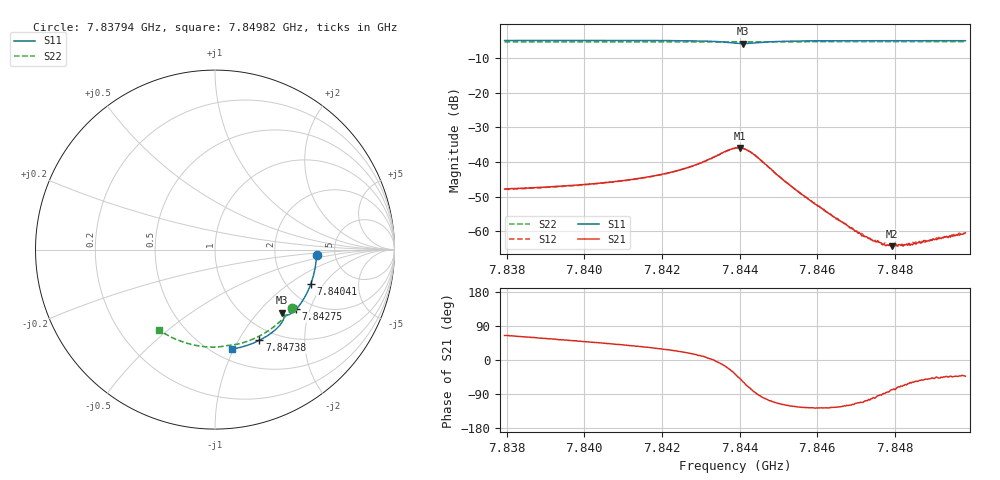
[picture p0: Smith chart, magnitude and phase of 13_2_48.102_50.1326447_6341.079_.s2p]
#  HZ  S  RI  R  50.00
! Rohde & Schwarz Vector Network Analyzer
! Rohde-Schwarz,ZNB20-2Port,1311601062101988,3.16
! Created: UTC 12/23/2023, 3:35:51 AM
! freq[Hz]  re:S11  im:S11  re:S21  im:S21  re:S12  im:S12  re:S22  im:S22
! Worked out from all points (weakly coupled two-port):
!   401 points, 7.83794 GHz to 7.84982 GHz, reference 50 ohm
!   highest |S21| = -35.92 dB at 7.844 GHz (marker M1); lowest = -64.3 dB at 7.84792 GHz (marker M2)
!   lowest |S11| = -5.8 dB at 7.84409 GHz (marker M3), VSWR 3.10, Z = 71.1 - j67.8 ohm
!   |S11| at or under -10 dB: nowhere
!   |S22| runs from -5.4 to -5.3 dB; largest |S21 - S12| = 0.00035
!   S11 on the Smith chart (normalised r, x): 7.83794 GHz: 3.59, -0.30; 7.84041 GHz: 2.68, -1.50; 7.84275 GHz: 1.67, -1.62; 7.84738 GHz: 0.83, -1.23; 7.84982 GHz: 0.60, -0.98
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7.837945e9  0.5661 -0.0282  0.00174 0.00368  0.0017 0.00365  0.4306 -0.326
7.839934e9  0.5443 -0.159  0.00309 0.00356  0.00304 0.00351  0.3337 -0.4255
7.840409e9  0.5345 -0.1896  0.0035 0.00353  0.00347 0.00349  0.3069 -0.4456
7.841923e9  0.489 -0.2839  0.00567 0.00326  0.00559 0.00326  0.2144 -0.4974
7.842754e9  0.4518 -0.3328  0.00826 0.00249  0.00821 0.00254  0.1593 -0.5176
7.843466e9  0.4039 -0.3652  0.0126 -0.00154  0.0127 -0.00125  0.1104 -0.5292
7.843882e9  0.3732 -0.3607  0.0128 -0.00955  0.0127 -0.00937  0.0826 -0.5327
7.844001e9  0.3706 -0.3553  0.0107 -0.0119  0.0107 -0.0119  0.0753 -0.5336
7.84409e9  0.3713 -0.3519  0.0084 -0.0134  0.00857 -0.0132  0.0698 -0.5345
7.844238e9  0.3767 -0.3507  0.00439 -0.0136  0.00446 -0.0137  0.0604 -0.536
7.844416e9  0.3831 -0.3576  0.000664 -0.0122  0.000739 -0.0121  0.0487 -0.5381
7.845158e9  0.3702 -0.4096  -0.0025 -0.00465  -0.00252 -0.0047  -0.00308 -0.5429
7.845871e9  0.3347 -0.4482  -0.00156 -0.00214  -0.0016 -0.00215  -0.0534 -0.5411
7.846821e9  0.2809 -0.487  -0.000567 -0.00101  -0.000595 -0.001  -0.1196 -0.531
7.847177e9  0.2596 -0.4991  -0.00032 -0.000799  -0.000333 -0.000836  -0.1441 -0.5252
7.847385e9  0.2471 -0.5056  -0.000158 -0.000738  -0.000166 -0.000741  -0.1581 -0.5214
7.847652e9  0.2308 -0.5134  -3.49e-05 -0.000676  -2.46e-05 -0.000661  -0.1759 -0.5158
7.84786e9  0.2181 -0.5192  7.22e-05 -0.000628  6.48e-05 -0.000618  -0.1896 -0.5108
7.847919e9  0.2143 -0.5207  0.000121 -0.000599  0.000118 -0.000639  -0.1937 -0.5095
7.848157e9  0.1996 -0.5266  0.000229 -0.000579  0.000232 -0.0006  -0.2092 -0.5035
7.848394e9  0.1846 -0.532  0.000323 -0.000538  0.000341 -0.000572  -0.2246 -0.4969
7.849819e9  0.0924 -0.5551  0.000697 -0.000644  0.000685 -0.000625  -0.3117 -0.4485
